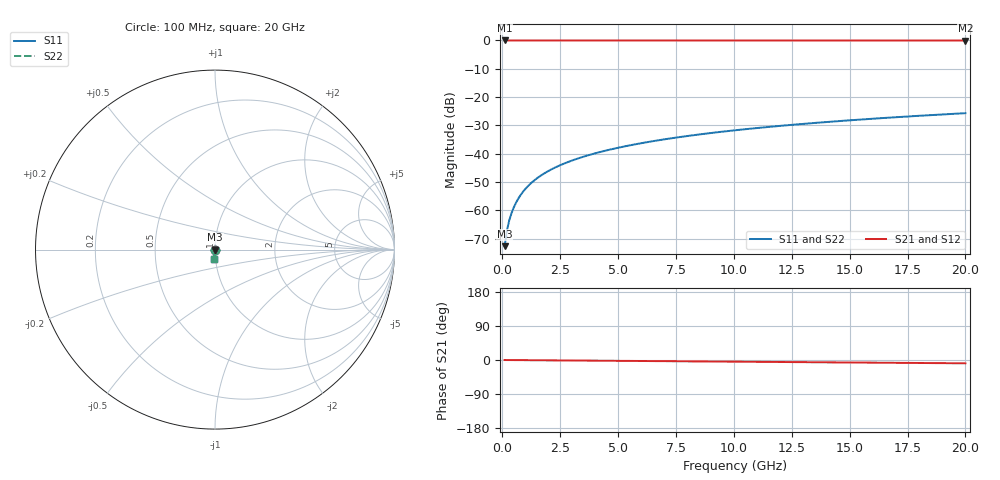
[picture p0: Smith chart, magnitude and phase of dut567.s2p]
! Touchstone file exported from HFSS 2026.1.0
!  File:  C:/ffzhzh/LocalFiles/Ansys_Project_Files/temp_train_TSV_567_1783024651_55676.aedt
!  Generated:  04:39:08 AM Jul  3, 2026
!  Design:  TSV
!  Project:  temp_train_TSV_567_1783024651_55676
! Variables:
!  h_bsmrdl = 2um
!  h_ox = 20um
!  h_rdl = 5um
!  h_sub = 86.4um
!  h_tmrdl = 5um
!  h_tsv = 86.4um
!  h_via = 3um
!  l_bsmrdl = 300um
!  l_sub = 425.9um
!  l_tmrdl = 200um
!  m_sub = 200um
!  pitch = 38.34um
!  r_tsv = 12.95um
!  s_tmrdl = 10um
!  w_bsmrdl = 18um
!  w_sub = 500um
!  w_tmrdl = 12um
!  x_tsv_center1 = 206um
!  x_tsv_center2 = 524um
!  x_tsv_center3 = 736um
!  x_tsv_center4 = 1054um
!  x_tsv_center5 = 1266um
!  x_tsv_center6 = 1584um
# GHz S MA R 50.000000
! Terminal data exported
! Port[1] = TSV1_1_T1
! Port[2] = TSV1_1_T2
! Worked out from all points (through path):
!   200 points, 100 MHz to 20 GHz, reference 50 ohm
!   highest |S21| = 0.00 dB at 100 MHz (marker M1); lowest = 0.0 dB at 20 GHz (marker M2)
!   group delay of S21, straight-line fit = 1.21 ps
!   lowest |S11| = -72.7 dB at 100 MHz (marker M3), VSWR 1.00, Z = 50 - j0.021 ohm
!   |S11| at or under -10 dB: start of sweep to end of sweep
!   |S22| runs from -72.7 to -25.7 dB; largest |S21 - S12| = 3.3e-15
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0.1  0.0002322 -64.9  0.9999 -0.0  0.9999 -0.0  0.0002322 -64.9
! Gamma 0 0 0 0
! Port Impedance 50 0 50 0
0.2  0.0004402 -74.9  0.9999 -0.1  0.9999 -0.1  0.0004402 -74.9
0.3  0.0006619 -78.0  0.9999 -0.1  0.9999 -0.1  0.0006619 -78.0
0.4  0.0008935 -79.4  0.9998 -0.2  0.9998 -0.2  0.0008935 -79.4
0.5  0.001133 -80.3  0.9998 -0.2  0.9998 -0.2  0.001133 -80.3
0.7  0.001629 -81.6  0.9998 -0.3  0.9998 -0.3  0.001629 -81.6
0.8  0.001883 -82.1  0.9997 -0.4  0.9997 -0.4  0.001883 -82.1
1  0.002394 -83.1  0.9997 -0.5  0.9997 -0.5  0.002394 -83.1
1.2  0.002908 -83.9  0.9997 -0.5  0.9997 -0.5  0.002908 -83.9
1.4  0.003423 -84.6  0.9996 -0.6  0.9996 -0.6  0.003423 -84.6
1.7  0.004195 -85.4  0.9996 -0.8  0.9996 -0.8  0.004195 -85.4
2  0.004966 -86.1  0.9996 -0.9  0.9996 -0.9  0.004966 -86.1
2.7  0.006766 -87.2  0.9995 -1.2  0.9995 -1.2  0.006766 -87.2
3.5  0.008827 -88.1  0.9994 -1.5  0.9994 -1.5  0.008827 -88.1
4.2  0.01064 -88.8  0.9994 -1.9  0.9994 -1.9  0.01064 -88.8
5  0.01271 -89.4  0.9993 -2.2  0.9993 -2.2  0.01271 -89.4
6.8  0.0174 -90.5  0.9991 -3.0  0.9991 -3.0  0.0174 -90.5
8.3  0.02132 -91.4  0.9989 -3.7  0.9989 -3.7  0.02132 -91.4
10.1  0.02602 -92.4  0.9988 -4.4  0.9988 -4.4  0.02602 -92.4
13.4  0.03466 -94.2  0.9984 -5.9  0.9984 -5.9  0.03466 -94.2
16.7  0.04328 -95.8  0.9979 -7.3  0.9979 -7.3  0.04328 -95.8
20  0.05189 -97.3  0.9974 -8.8  0.9974 -8.8  0.05189 -97.3
